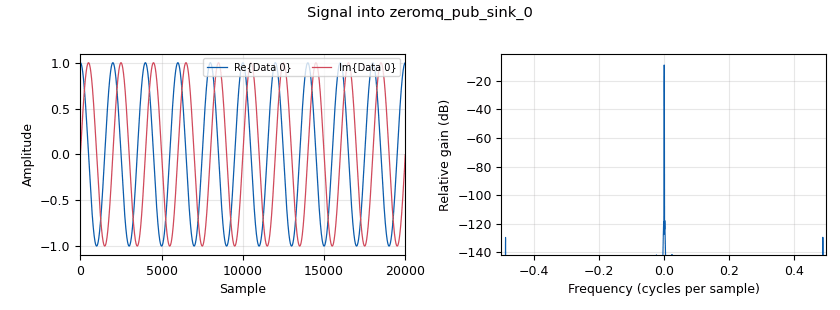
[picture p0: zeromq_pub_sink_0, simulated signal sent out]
options:
  parameters:
    generate_options: qt_gui
    id: ex3_07
    output_language: python
    title: Figure 3.14, 3.15, 3.16 Using ZMQ PUB Sink
  states: {}

blocks:
- name: N
  id: variable
  parameters:
    value: '64'
  states: {}
- name: samp_rate
  id: variable
  parameters:
    value: 2e6
  states: {}
- name: analog_sig_source_x_0
  id: analog_sig_source_x
  parameters:
    amp: '1'
    freq: '1000'
    offset: '0'
    phase: '0'
    samp_rate: samp_rate
    type: complex
    waveform: analog.GR_COS_WAVE
  states: {}
- name: blocks_stream_to_vector_0
  id: blocks_stream_to_vector
  parameters:
    num_items: N
    type: complex
  states: {}
- name: blocks_throttle2_0
  id: blocks_throttle2
  parameters:
    samples_per_second: samp_rate
    type: complex
  states: {}
- name: zeromq_pub_sink_0
  id: zeromq_pub_sink
  parameters:
    address: tcp://*:5555
    timeout: '100'
    type: complex
    vlen: N
  states: {}

connections:
- [analog_sig_source_x_0, '0', blocks_throttle2_0, '0']
- [blocks_stream_to_vector_0, '0', zeromq_pub_sink_0, '0']
- [blocks_throttle2_0, '0', blocks_stream_to_vector_0, '0']

metadata:
  file_format: 1
  grc_version: 3.10.9.2
